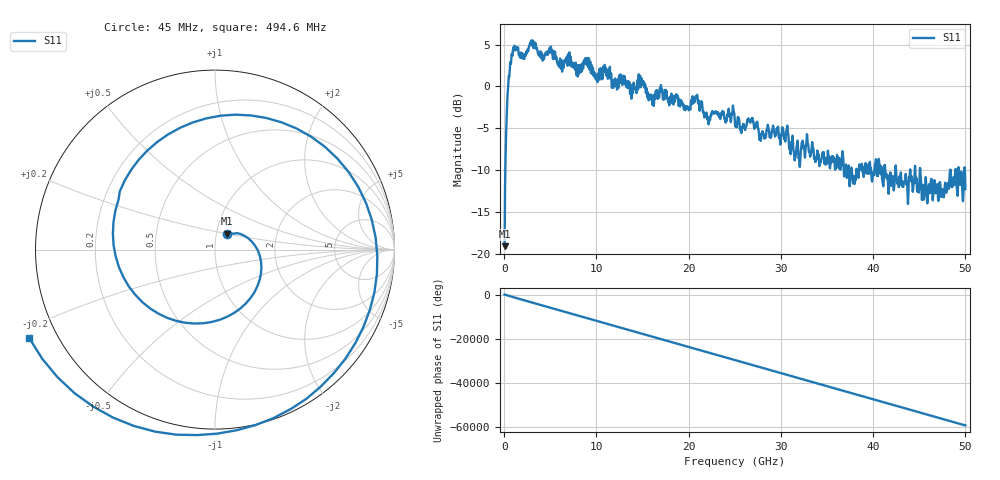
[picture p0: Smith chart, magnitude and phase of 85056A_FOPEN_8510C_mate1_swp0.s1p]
!Created with skrf (http://scikit-rf.org).
# Hz S RI R 50.0
!freq ReS11 ImS11
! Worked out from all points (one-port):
!   10001 points, 45 MHz to 50 GHz, reference 50 ohm
!   lowest |S11| = -19.1 dB at 45 MHz (marker M1), VSWR 1.25, Z = 56 + j10.2 ohm
!   |S11| at or under -10 dB: 41.31 GHz to 42.4 GHz (1.088 GHz wide, 2.6 % of centre); 42.48 GHz to 44.01 GHz (1.529 GHz wide, 3.54 % of centre); 45.11 GHz to 48.36 GHz (3.252 GHz wide, 6.96 % of centre) (the widest 3 of 27)
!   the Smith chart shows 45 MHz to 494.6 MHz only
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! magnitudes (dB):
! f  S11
! 45 MHz  -19.1
! 319.8 MHz  -2.1
! 439.6 MHz  0.1
! 1.019 GHz  4.4
! 2.098 GHz  3.5
! 3.027 GHz  5.0
! 6.289 GHz  1.8
! 8.967 GHz  2.5
! 10.03 GHz  1.3
! 12.53 GHz  0.5
! 13.75 GHz  -0.4
! 14.94 GHz  0.3
! 16.01 GHz  -1.3
! 18.78 GHz  -1.4
! 19.84 GHz  -2.4
! 20.88 GHz  -1.1
! 22.1 GHz  -3.8
! 25.02 GHz  -4.5
! 26.79 GHz  -4.0
! 27.86 GHz  -6.1
! 30.6 GHz  -5.3
! 31.27 GHz  -5.9
! 32.9 GHz  -6.8
! 37.51 GHz  -10.8
! 40.48 GHz  -10.7
! 43.76 GHz  -13.9
! 45.69 GHz  -10.9
! 50 GHz  -12.3
